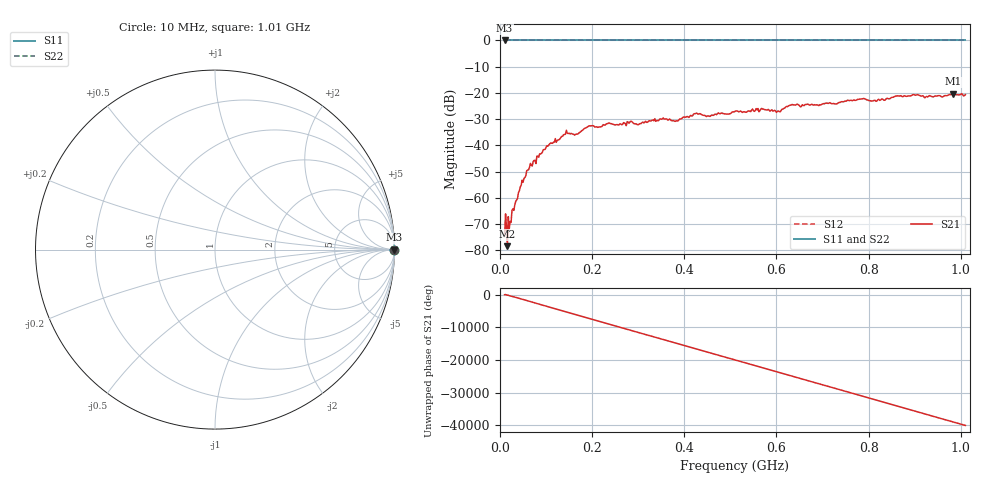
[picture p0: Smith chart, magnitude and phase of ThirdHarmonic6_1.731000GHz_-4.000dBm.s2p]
! 8/16/2025 8:50:55 PM
! C:\ANRITSUVNA\TEMP\TEMP.S2P
! CHANNEL.1
! TR.MEASUREMENT
! RAW.DATA
! RF.CORRECTION.OFF
! AVERAGING.OFF
! IF.BANDWIDTH: 5KHZ
! SWEEPTYPE:  FREQ.SWEEP(Linear)
! Reference Plane Port Info
! PORT:  PORT1  PORT2
! DISTANCE:  0  m  0  m
! TIME:  0  s  0  s
! PHASE.OFFSET:  0  deg.  0  deg.
! LOSS:  0  dB  0  dB
! REF.LOSS:  0  dB  0  dB
! REF.FREQ:  0  Hz  0  Hz
! Power Info
! POWER:  -20  dBm  -20  dBm
! EFF.POWER:  -20  dBm  -20  dBm
! SOURCE.ATTEN:  0  dB  0  dB
! TEST.ATTEN:  0  dB  0  dB
# GHZ S RI R 50.0
! FREQ.GHZ  S11RE  S11IM  S21RE  S21IM  S12RE  S12IM  S22RE  S22IM
!; PortSelection: Port_12
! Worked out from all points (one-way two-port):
!   501 points, 10 MHz to 1.01 GHz, reference 50 ohm
!   highest |S21| = -20.27 dB at 984 MHz (marker M1); lowest = -78.5 dB at 16 MHz (marker M2)
!   lowest |S11| = 0.0 dB at 10 MHz (marker M3)
!   |S11| at or under -10 dB: nowhere
!   |S22| runs from 0.0 to 0.0 dB; largest |S21 - S12| = 1.1
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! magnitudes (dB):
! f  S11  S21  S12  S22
! 10 MHz  0.0  -74.8  0.0  0.0
! 12 MHz  0.0  -66.2  0.0  0.0
! 16 MHz  0.0  -78.5  0.0  0.0
! 20 MHz  0.0  -71.9  0.0  0.0
! 22 MHz  0.0  -69.0  0.0  0.0
! 44 MHz  0.0  -55.9  0.0  0.0
! 70 MHz  0.0  -47.9  0.0  0.0
! 104 MHz  0.0  -40.3  0.0  0.0
! 140 MHz  0.0  -35.9  0.0  0.0
! 178 MHz  0.0  -34.3  0.0  0.0
! 196 MHz  0.0  -32.6  0.0  0.0
! 344 MHz  0.0  -30.6  0.0  0.0
! 382 MHz  0.0  -30.7  0.0  0.0
! 424 MHz  0.0  -28.0  0.0  0.0
! 452 MHz  0.0  -28.8  0.0  0.0
! 510 MHz  0.0  -27.1  0.0  0.0
! 604 MHz  0.0  -26.9  0.0  0.0
! 632 MHz  0.0  -24.6  0.0  0.0
! 678 MHz  0.0  -24.4  0.0  0.0
! 844 MHz  0.0  -22.3  0.0  0.0
! 984 MHz  0.0  -20.3  0.0  0.0
! 1.01 GHz  0.0  -20.7  0.0  0.0
